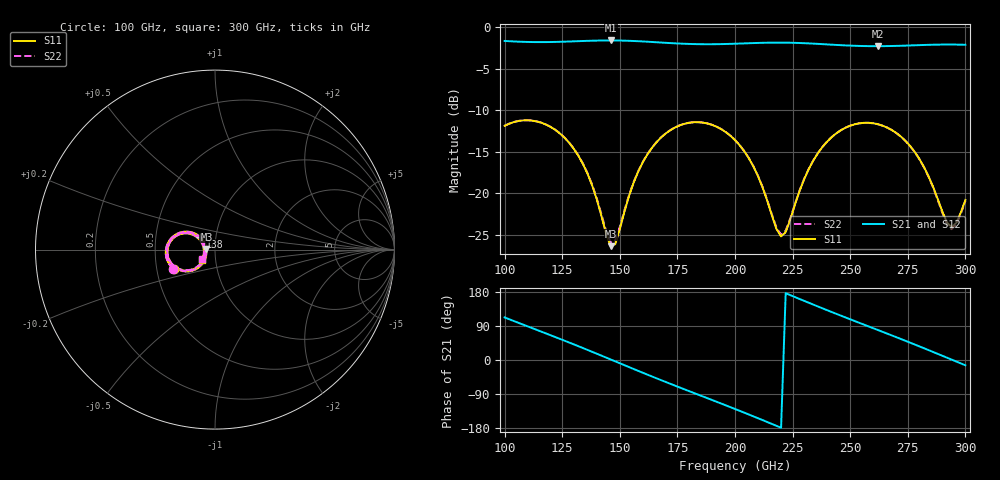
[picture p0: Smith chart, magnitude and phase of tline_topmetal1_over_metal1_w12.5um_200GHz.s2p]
#  GHZ S DB R 50
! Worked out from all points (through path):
!   101 points, 100 GHz to 300 GHz, reference 50 ohm
!   highest |S21| = -1.57 dB at 146 GHz (marker M1); lowest = -2.3 dB at 262 GHz (marker M2)
!   group delay of S21, straight-line fit = 6.76 ps
!   lowest |S11| = -26.4 dB at 146 GHz (marker M3), VSWR 1.10, Z = 45.4 + j0.381 ohm
!   |S11| at or under -10 dB: start of sweep to end of sweep
!   |S22| runs from -25.9 to -11.2 dB; largest |S21 - S12| = 9.1e-14
!   S11 on the Smith chart (normalised r, x): 100 GHz: 0.61, -0.14; 138 GHz: 0.84, +0.12; 300 GHz: 0.86, -0.10
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100  -11.87 -155.1  -1.63 112.3  -1.63 112.3  -11.87 -155.0
108  -11.22 -171.2  -1.74 93.4  -1.74 93.4  -11.21 -171.1
116  -11.51 172.8  -1.77 74.7  -1.77 74.7  -11.50 173.0
126  -13.31 153.8  -1.72 51.0  -1.72 51.0  -13.29 154.2
134  -16.48 141.7  -1.64 31.5  -1.64 31.5  -16.43 142.5
138  -19.08 139.3  -1.61 21.6  -1.61 21.6  -18.98 140.4
146  -26.40 175.0  -1.57 1.5  -1.57 1.5  -25.94 175.3
148  -26.15 -161.5  -1.58 -3.5  -1.58 -3.5  -25.72 -162.6
158  -17.39 -132.2  -1.67 -28.7  -1.67 -28.7  -17.34 -133.4
168  -13.26 -146.5  -1.83 -53.3  -1.83 -53.3  -13.25 -147.2
176  -11.82 -161.4  -1.95 -72.5  -1.95 -72.5  -11.81 -161.9
184  -11.44 -176.7  -2.02 -91.4  -2.02 -91.4  -11.43 -177.1
200  -13.59 154.2  -1.97 -129.2  -1.97 -129.2  -13.58 154.0
208  -16.79 143.8  -1.89 -148.7  -1.89 -148.7  -16.76 143.8
220  -25.22 -178.8  -1.83 -178.7  -1.83 -178.7  -25.02 -179.1
234  -16.06 -137.1  -1.96 146.1  -1.96 146.1  -16.04 -138.0
248  -12.10 -159.0  -2.17 112.2  -2.17 112.2  -12.09 -159.6
262  -11.68 175.4  -2.26 79.2  -2.26 79.2  -11.68 174.7
268  -12.37 164.8  -2.24 65.0  -2.24 65.0  -12.38 164.0
280  -15.86 147.5  -2.14 36.0  -2.14 36.0  -15.89 146.6
294  -24.10 -176.9  -2.07 1.1  -2.07 1.1  -24.35 -177.2
300  -20.83 -142.6  -2.10 -14.0  -2.10 -14.0  -20.93 -142.2
